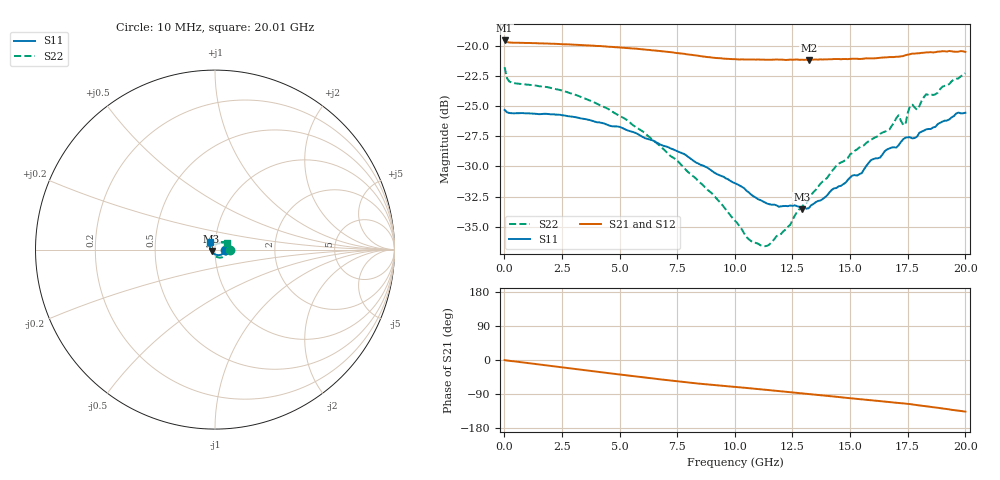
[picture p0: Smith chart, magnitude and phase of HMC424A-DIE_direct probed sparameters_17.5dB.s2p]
!s2p File: Measurements: S11, S21, S12, S22
# GHz S dB R 50.0
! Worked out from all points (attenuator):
!   201 points, 10 MHz to 20.01 GHz, reference 50 ohm
!   highest |S21| = -19.54 dB at 10 MHz (marker M1); lowest = -21.2 dB at 13.21 GHz (marker M2)
!   lowest |S11| = -33.5 dB at 12.91 GHz (marker M3), VSWR 1.04, Z = 48.1 - j0.926 ohm
!   |S11| at or under -10 dB: start of sweep to end of sweep
!   |S22| runs from -36.6 to -21.8 dB; largest |S21 - S12| = 0.001
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0.01  -25.31 -0.2  -19.54 -0.3  -19.54 -0.3  -21.75 -2.0
0.11  -25.50 -1.6  -19.67 -1.4  -19.67 -1.4  -22.66 -5.2
0.31  -25.58 -2.3  -19.72 -2.7  -19.72 -2.7  -23.03 -5.8
3.41  -26.04 -23.6  -19.93 -26.3  -19.92 -26.3  -24.30 -41.4
5.21  -26.89 -38.3  -20.15 -39.7  -20.15 -39.8  -26.01 -63.2
6.71  -28.12 -50.9  -20.41 -50.7  -20.41 -50.6  -28.22 -80.8
10.01  -31.39 -90.6  -21.09 -71.1  -21.10 -71.0  -34.50 -140.6
10.71  -32.34 -103.3  -21.12 -74.9  -21.12 -74.9  -36.20 -169.1
11.41  -33.09 -118.3  -21.14 -79.0  -21.14 -79.0  -36.59 156.7
12.41  -33.24 -139.8  -21.13 -85.1  -21.14 -84.9  -34.84 117.1
12.91  -33.52 -152.9  -21.14 -88.0  -21.13 -88.0  -33.36 101.3
13.21  -33.47 -159.2  -21.17 -89.9  -21.17 -89.7  -32.79 94.8
13.41  -33.12 -164.6  -21.13 -90.9  -21.14 -90.9  -32.14 90.3
14.41  -31.79 174.2  -21.08 -97.0  -21.08 -97.1  -29.92 74.6
16.71  -28.51 141.4  -20.92 -111.0  -20.90 -111.0  -26.94 53.4
17.11  -28.24 139.6  -20.89 -113.5  -20.81 -113.5  -25.75 48.0
17.41  -27.61 136.3  -20.76 -115.0  -20.78 -115.5  -26.49 51.4
17.61  -27.58 133.4  -20.68 -116.3  -20.72 -116.9  -24.96 49.3
17.91  -27.53 132.0  -20.61 -119.1  -20.65 -119.0  -25.29 44.3
18.31  -26.92 127.3  -20.53 -122.2  -20.56 -122.1  -24.00 42.0
18.71  -26.71 127.0  -20.51 -125.3  -20.51 -125.1  -24.01 38.7
20.01  -25.54 124.0  -20.49 -136.3  -20.48 -136.2  -22.26 29.1
